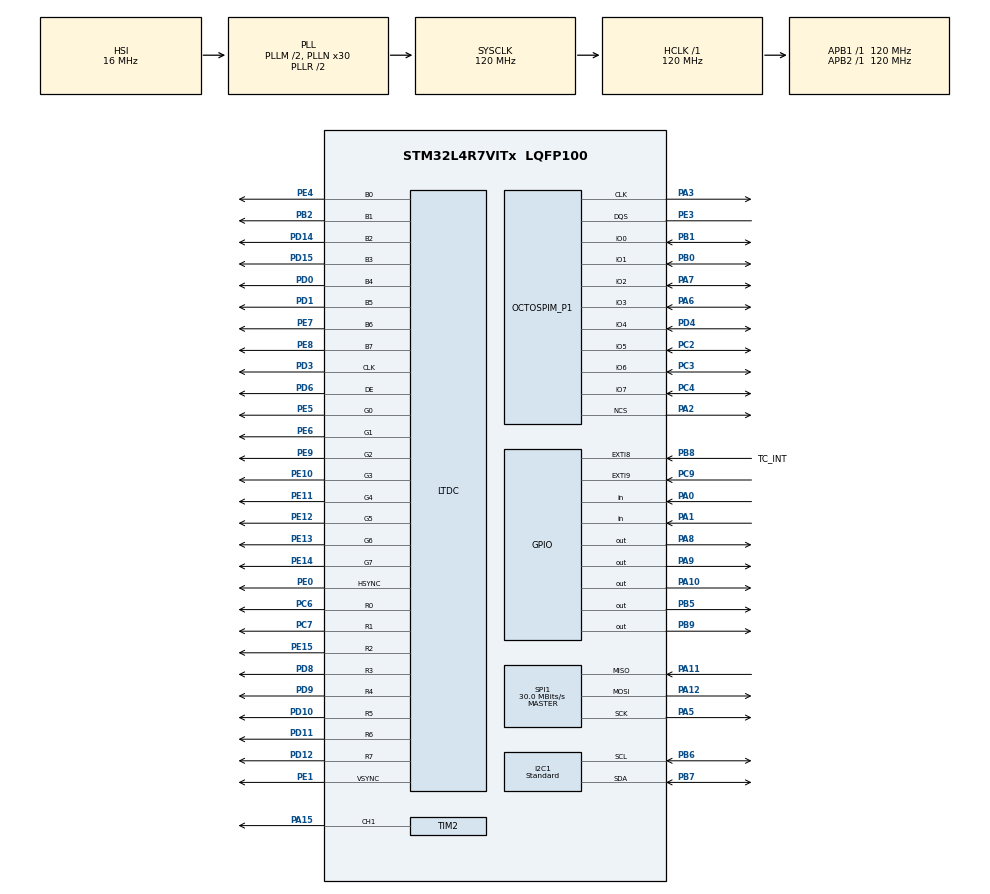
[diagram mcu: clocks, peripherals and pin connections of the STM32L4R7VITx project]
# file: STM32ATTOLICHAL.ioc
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DMA2D.ColorMode=DMA2D_OUTPUT_RGB888
DMA2D.InputColorModeBackground=DMA2D_INPUT_RGB888
DMA2D.InputColorModeForeground=DMA2D_INPUT_RGB888
DMA2D.Mode=DMA2D_M2M_BLEND
Dma.MEMTOMEM.0.Direction=DMA_MEMORY_TO_MEMORY
Dma.MEMTOMEM.0.EventEnable=DISABLE
Dma.MEMTOMEM.0.Instance=DMA1_Channel1
Dma.MEMTOMEM.0.MemDataAlignment=DMA_MDATAALIGN_HALFWORD
Dma.MEMTOMEM.0.MemInc=DMA_MINC_ENABLE
Dma.MEMTOMEM.0.Mode=DMA_NORMAL
Dma.MEMTOMEM.0.PeriphDataAlignment=DMA_PDATAALIGN_HALFWORD
Dma.MEMTOMEM.0.PeriphInc=DMA_PINC_ENABLE
Dma.MEMTOMEM.0.Polarity=HAL_DMAMUX_REQUEST_GEN_RISING
Dma.MEMTOMEM.0.Priority=DMA_PRIORITY_HIGH
Dma.MEMTOMEM.0.RequestNumber=1
Dma.MEMTOMEM.0.SignalID=HAL_DMAMUX1_REQUEST_GEN_EXTI8
Dma.MEMTOMEM.0.SyncEnable=DISABLE
Dma.MEMTOMEM.0.SyncPolarity=HAL_DMAMUX_SYNC_NO_EVENT
Dma.MEMTOMEM.0.SyncRequestNumber=1
Dma.MEMTOMEM.0.SyncSignalID=HAL_DMAMUX1_SYNC_EXTI8
Dma.Request0=MEMTOMEM
I2C1.I2C_Speed_Mode=I2C_Standard
I2C1.Timing=0x00303D5B
LTDC.ActiveW=800
LTDC.FBStartAdress_L0=0x90000000
LTDC.ImageHeight_L0=480
LTDC.ImageWidth_L0=800
LTDC.Layers=0
LTDC.PixelFormat_L0=LTDC_PIXEL_FORMAT_RGB888
LTDC.WindowX1_L0=800
LTDC.WindowY1_L0=480
Mcu.Family=STM32L4
Mcu.Name=STM32L4R7VITx
Mcu.Package=LQFP100
NVIC.DMA2D_IRQn=true\:0\:0\:false\:false\:true\:true
NVIC.I2C1_ER_IRQn=true\:0\:0\:false\:false\:true\:true
NVIC.I2C1_EV_IRQn=true\:0\:0\:false\:false\:true\:true
NVIC.LTDC_IRQn=true\:0\:0\:false\:false\:true\:true
NVIC.OCTOSPI1_IRQn=true\:0\:0\:false\:false\:true\:true
NVIC.PriorityGroup=NVIC_PRIORITYGROUP_4
NVIC.TIM1_UP_TIM16_IRQn=true\:0\:0\:false\:false\:true\:false
NVIC.TimeBase=TIM1_UP_TIM16_IRQn
NVIC.TimeBaseIP=TIM1
OCTOSPI1.AccessTime=10
OCTOSPI1.ChipSelectBoundary=0
OCTOSPI1.ChipSelectHighTime=5
OCTOSPI1.ClockMode=HAL_OSPI_CLOCK_MODE_3
OCTOSPI1.ClockPrescaler=2
OCTOSPI1.DelayHoldQuarterCycle=HAL_OSPI_DHQC_ENABLE
OCTOSPI1.DeviceSize=23
OCTOSPI1.LatencyMode=HAL_OSPI_VARIABLE_LATENCY
OCTOSPI1.MemoryType=HAL_OSPI_MEMTYPE_HYPERBUS
OCTOSPI1.RWRecoveryTime=10
OCTOSPI1.TimeOutActivation=HAL_OSPI_TIMEOUT_COUNTER_DISABLE
OCTOSPI1.WrapSize=HAL_OSPI_WRAP_NOT_SUPPORTED
OCTOSPI1.WriteZeroLatency=HAL_OSPI_SIOO_INST_EVERY_CMD
PA0.Signal=GPIO_Input
PA1.Signal=GPIO_Input
PA10.GPIO_ModeDefaultOutputPP=GPIO_MODE_OUTPUT_PP
PA10.GPIO_PuPd=GPIO_NOPULL
PA10.GPIO_Speed=GPIO_SPEED_FREQ_LOW
PA10.PinState=GPIO_PIN_RESET
PA10.Signal=GPIO_Output
PA11.Mode=Full_Duplex_Master
PA11.Signal=SPI1_MISO
PA12.Mode=Full_Duplex_Master
PA12.Signal=SPI1_MOSI
PA13\ (JTMS/SWDIO).Mode=Trace_Asynchronous_SW
PA13\ (JTMS/SWDIO).Signal=SYS_JTMS-SWDIO
PA14\ (JTCK/SWCLK).Mode=Trace_Asynchronous_SW
PA14\ (JTCK/SWCLK).Signal=SYS_JTCK-SWCLK
PA15\ (JTDI).Signal=S_TIM2_CH1
PA2.GPIO_Mode=GPIO_MODE_AF_PP
PA2.GPIO_PuPd=GPIO_NOPULL
PA2.GPIO_Speed=GPIO_SPEED_FREQ_VERY_HIGH
PA2.Mode=OCTOSPI1_Port1_NCS
PA2.Signal=OCTOSPIM_P1_NCS
PA3.GPIO_Mode=GPIO_MODE_AF_PP
PA3.GPIO_PuPd=GPIO_NOPULL
PA3.GPIO_Speed=GPIO_SPEED_FREQ_VERY_HIGH
PA3.Mode=OCTOSPI1_Port1_CLK
PA3.Signal=OCTOSPIM_P1_CLK
PA5.Mode=Full_Duplex_Master
PA5.Signal=SPI1_SCK
PA6.GPIO_Mode=GPIO_MODE_AF_PP
PA6.GPIO_PuPd=GPIO_NOPULL
PA6.GPIO_Speed=GPIO_SPEED_FREQ_VERY_HIGH
PA6.Mode=OCTOSPI1_IOL_Port1L2
PA6.Signal=OCTOSPIM_P1_IO3
PA7.GPIO_Mode=GPIO_MODE_AF_PP
PA7.GPIO_PuPd=GPIO_NOPULL
PA7.GPIO_Speed=GPIO_SPEED_FREQ_VERY_HIGH
PA7.Mode=OCTOSPI1_IOL_Port1L2
PA7.Signal=OCTOSPIM_P1_IO2
PA8.Signal=GPIO_Output
PA9.GPIO_ModeDefaultOutputPP=GPIO_MODE_OUTPUT_PP
PA9.GPIO_PuPd=GPIO_NOPULL
PA9.GPIO_Speed=GPIO_SPEED_FREQ_LOW
PA9.PinState=GPIO_PIN_RESET
PA9.Signal=GPIO_Output
PB0.GPIO_Mode=GPIO_MODE_AF_PP
PB0.GPIO_PuPd=GPIO_NOPULL
PB0.GPIO_Speed=GPIO_SPEED_FREQ_VERY_HIGH
PB0.Mode=OCTOSPI1_IOL_Port1L2
PB0.Signal=OCTOSPIM_P1_IO1
PB1.GPIO_Mode=GPIO_MODE_AF_PP
PB1.GPIO_PuPd=GPIO_NOPULL
PB1.GPIO_Speed=GPIO_SPEED_FREQ_VERY_HIGH
PB1.Mode=OCTOSPI1_IOL_Port1L2
PB1.Signal=OCTOSPIM_P1_IO0
PB2.GPIO_Mode=GPIO_MODE_AF_PP
PB2.GPIO_PuPd=GPIO_NOPULL
PB2.GPIO_Speed=GPIO_SPEED_FREQ_LOW
PB2.Mode=RGB888
PB2.Signal=LTDC_B1
PB3\ (JTDO/TRACESWO).Mode=Trace_Asynchronous_SW
PB3\ (JTDO/TRACESWO).Signal=SYS_JTDO-SWO
PB5.GPIO_ModeDefaultOutputPP=GPIO_MODE_OUTPUT_PP
PB5.GPIO_PuPd=GPIO_NOPULL
PB5.GPIO_Speed=GPIO_SPEED_FREQ_LOW
PB5.PinState=GPIO_PIN_RESET
PB5.Signal=GPIO_Output
PB6.GPIO_FM6=__NULL
PB6.GPIO_Mode=GPIO_MODE_AF_OD
PB6.GPIO_PuPdOD=GPIO_PULLUP
PB6.GPIO_Speed=GPIO_SPEED_FREQ_VERY_HIGH
PB6.Mode=I2C
PB6.Signal=I2C1_SCL
PB7.GPIO_FM7=__NULL
PB7.GPIO_Mode=GPIO_MODE_AF_OD
PB7.GPIO_PuPdOD=GPIO_PULLUP
PB7.GPIO_Speed=GPIO_SPEED_FREQ_VERY_HIGH
PB7.Mode=I2C
PB7.Signal=I2C1_SDA
PB8.GPIO_Label=TC_INT
PB8.GPIO_ModeDefaultEXTI=GPIO_MODE_IT_RISING
PB8.GPIO_PuPd=GPIO_NOPULL
PB8.Signal=GPXTI8
PB9.GPIO_FM9=__NULL
PB9.GPIO_ModeDefaultOutputPP=GPIO_MODE_OUTPUT_PP
PB9.GPIO_PuPd=GPIO_NOPULL
PB9.GPIO_Speed=GPIO_SPEED_FREQ_LOW
PB9.PinState=GPIO_PIN_RESET
PB9.Signal=GPIO_Output
PC2.GPIO_Mode=GPIO_MODE_AF_PP
PC2.GPIO_PuPd=GPIO_NOPULL
PC2.GPIO_Speed=GPIO_SPEED_FREQ_VERY_HIGH
PC2.Mode=OCTOSPI1_IOH1_Port1H
PC2.Signal=OCTOSPIM_P1_IO5
PC3.GPIO_Mode=GPIO_MODE_AF_PP
PC3.GPIO_PuPd=GPIO_NOPULL
PC3.GPIO_Speed=GPIO_SPEED_FREQ_VERY_HIGH
PC3.Mode=OCTOSPI1_IOH1_Port1H
PC3.Signal=OCTOSPIM_P1_IO6
PC4.GPIO_Mode=GPIO_MODE_AF_PP
PC4.GPIO_PuPd=GPIO_NOPULL
PC4.GPIO_Speed=GPIO_SPEED_FREQ_VERY_HIGH
PC4.Mode=OCTOSPI1_IOH1_Port1H
PC4.Signal=OCTOSPIM_P1_IO7
PC6.GPIO_Mode=GPIO_MODE_AF_PP
PC6.GPIO_PuPd=GPIO_NOPULL
PC6.GPIO_Speed=GPIO_SPEED_FREQ_LOW
PC6.Mode=RGB888
PC6.Signal=LTDC_R0
PC7.GPIO_Mode=GPIO_MODE_AF_PP
PC7.GPIO_PuPd=GPIO_NOPULL
PC7.GPIO_Speed=GPIO_SPEED_FREQ_LOW
PC7.Mode=RGB888
PC7.Signal=LTDC_R1
PC9.GPIO_ModeDefaultEXTI=GPIO_MODE_IT_RISING
PC9.GPIO_PuPd=GPIO_NOPULL
PC9.Signal=GPXTI9
PD0.GPIO_Mode=GPIO_MODE_AF_PP
PD0.GPIO_PuPd=GPIO_NOPULL
PD0.GPIO_Speed=GPIO_SPEED_FREQ_LOW
PD0.Mode=RGB888
PD0.Signal=LTDC_B4
PD1.GPIO_Mode=GPIO_MODE_AF_PP
PD1.GPIO_PuPd=GPIO_NOPULL
PD1.GPIO_Speed=GPIO_SPEED_FREQ_LOW
PD1.Mode=RGB888
PD1.Signal=LTDC_B5
PD10.GPIO_Mode=GPIO_MODE_AF_PP
PD10.GPIO_PuPd=GPIO_NOPULL
PD10.GPIO_Speed=GPIO_SPEED_FREQ_LOW
PD10.Mode=RGB888
PD10.Signal=LTDC_R5
PD11.GPIO_Mode=GPIO_MODE_AF_PP
PD11.GPIO_PuPd=GPIO_NOPULL
PD11.GPIO_Speed=GPIO_SPEED_FREQ_LOW
PD11.Mode=RGB888
PD11.Signal=LTDC_R6
PD12.GPIO_Mode=GPIO_MODE_AF_PP
PD12.GPIO_PuPd=GPIO_NOPULL
PD12.GPIO_Speed=GPIO_SPEED_FREQ_LOW
PD12.Mode=RGB888
PD12.Signal=LTDC_R7
PD14.GPIO_Mode=GPIO_MODE_AF_PP
PD14.GPIO_PuPd=GPIO_NOPULL
PD14.GPIO_Speed=GPIO_SPEED_FREQ_LOW
PD14.Mode=RGB888
PD14.Signal=LTDC_B2
PD15.GPIO_Mode=GPIO_MODE_AF_PP
PD15.GPIO_PuPd=GPIO_NOPULL
PD15.GPIO_Speed=GPIO_SPEED_FREQ_LOW
PD15.Mode=RGB888
PD15.Signal=LTDC_B3
PD3.GPIO_Mode=GPIO_MODE_AF_PP
PD3.GPIO_PuPd=GPIO_NOPULL
PD3.GPIO_Speed=GPIO_SPEED_FREQ_LOW
PD3.Mode=RGB888
PD3.Signal=LTDC_CLK
PD4.GPIO_Mode=GPIO_MODE_AF_PP
PD4.GPIO_PuPd=GPIO_NOPULL
PD4.GPIO_Speed=GPIO_SPEED_FREQ_VERY_HIGH
PD4.Mode=OCTOSPI1_IOH1_Port1H
PD4.Signal=OCTOSPIM_P1_IO4
PD6.GPIO_Mode=GPIO_MODE_AF_PP
PD6.GPIO_PuPd=GPIO_NOPULL
PD6.GPIO_Speed=GPIO_SPEED_FREQ_LOW
PD6.Mode=RGB888
PD6.Signal=LTDC_DE
PD8.GPIO_Mode=GPIO_MODE_AF_PP
PD8.GPIO_PuPd=GPIO_NOPULL
PD8.GPIO_Speed=GPIO_SPEED_FREQ_LOW
PD8.Mode=RGB888
PD8.Signal=LTDC_R3
PD9.GPIO_Mode=GPIO_MODE_AF_PP
PD9.GPIO_PuPd=GPIO_NOPULL
PD9.GPIO_Speed=GPIO_SPEED_FREQ_LOW
PD9.Mode=RGB888
PD9.Signal=LTDC_R4
PE0.GPIO_Mode=GPIO_MODE_AF_PP
PE0.GPIO_PuPd=GPIO_NOPULL
PE0.GPIO_Speed=GPIO_SPEED_FREQ_LOW
PE0.Mode=RGB888
PE0.Signal=LTDC_HSYNC
PE1.GPIO_Mode=GPIO_MODE_AF_PP
PE1.GPIO_PuPd=GPIO_NOPULL
PE1.GPIO_Speed=GPIO_SPEED_FREQ_LOW
PE1.Mode=RGB888
PE1.Signal=LTDC_VSYNC
PE10.GPIO_Mode=GPIO_MODE_AF_PP
PE10.GPIO_PuPd=GPIO_NOPULL
PE10.GPIO_Speed=GPIO_SPEED_FREQ_LOW
PE10.Mode=RGB888
PE10.Signal=LTDC_G3
PE11.GPIO_Mode=GPIO_MODE_AF_PP
PE11.GPIO_PuPd=GPIO_NOPULL
PE11.GPIO_Speed=GPIO_SPEED_FREQ_LOW
PE11.Mode=RGB888
PE11.Signal=LTDC_G4
PE12.GPIO_Mode=GPIO_MODE_AF_PP
PE12.GPIO_PuPd=GPIO_NOPULL
PE12.GPIO_Speed=GPIO_SPEED_FREQ_LOW
PE12.Mode=RGB888
PE12.Signal=LTDC_G5
PE13.GPIO_Mode=GPIO_MODE_AF_PP
PE13.GPIO_PuPd=GPIO_NOPULL
PE13.GPIO_Speed=GPIO_SPEED_FREQ_LOW
PE13.Mode=RGB888
PE13.Signal=LTDC_G6
PE14.GPIO_Mode=GPIO_MODE_AF_PP
PE14.GPIO_PuPd=GPIO_NOPULL
PE14.GPIO_Speed=GPIO_SPEED_FREQ_LOW
PE14.Mode=RGB888
PE14.Signal=LTDC_G7
PE15.GPIO_Mode=GPIO_MODE_AF_PP
PE15.GPIO_PuPd=GPIO_NOPULL
PE15.GPIO_Speed=GPIO_SPEED_FREQ_LOW
PE15.Mode=RGB888
PE15.Signal=LTDC_R2
PE3.GPIO_Mode=GPIO_MODE_AF_PP
PE3.GPIO_PuPd=GPIO_NOPULL
PE3.GPIO_Speed=GPIO_SPEED_FREQ_VERY_HIGH
PE3.Mode=OCTOSPI1_Port1_DQS
PE3.Signal=OCTOSPIM_P1_DQS
PE4.GPIO_Mode=GPIO_MODE_AF_PP
PE4.GPIO_PuPd=GPIO_NOPULL
PE4.GPIO_Speed=GPIO_SPEED_FREQ_LOW
PE4.Mode=RGB888
PE4.Signal=LTDC_B0
PE5.GPIO_Mode=GPIO_MODE_AF_PP
PE5.GPIO_PuPd=GPIO_NOPULL
PE5.GPIO_Speed=GPIO_SPEED_FREQ_LOW
PE5.Mode=RGB888
PE5.Signal=LTDC_G0
PE6.GPIO_Mode=GPIO_MODE_AF_PP
PE6.GPIO_PuPd=GPIO_NOPULL
PE6.GPIO_Speed=GPIO_SPEED_FREQ_LOW
PE6.Mode=RGB888
PE6.Signal=LTDC_G1
PE7.GPIO_Mode=GPIO_MODE_AF_PP
PE7.GPIO_PuPd=GPIO_NOPULL
PE7.GPIO_Speed=GPIO_SPEED_FREQ_LOW
PE7.Mode=RGB888
PE7.Signal=LTDC_B6
PE8.GPIO_Mode=GPIO_MODE_AF_PP
PE8.GPIO_PuPd=GPIO_NOPULL
PE8.GPIO_Speed=GPIO_SPEED_FREQ_LOW
PE8.Mode=RGB888
PE8.Signal=LTDC_B7
PE9.GPIO_Mode=GPIO_MODE_AF_PP
PE9.GPIO_PuPd=GPIO_NOPULL
PE9.GPIO_Speed=GPIO_SPEED_FREQ_LOW
PE9.Mode=RGB888
PE9.Signal=LTDC_G2
ProjectManager.HeapSize=0x200
ProjectManager.StackSize=0x400
ProjectManager.TargetToolchain=TrueSTUDIO
RCC.ADCFreq_Value=64000000
RCC.AHBFreq_Value=120000000
RCC.APB1Freq_Value=120000000
RCC.APB1TimFreq_Value=120000000
RCC.APB2Freq_Value=120000000
RCC.APB2TimFreq_Value=120000000
RCC.CortexFreq_Value=120000000
RCC.HCLKFreq_Value=120000000
RCC.HSE_VALUE=48000000
RCC.HSI48_VALUE=48000000
RCC.HSI_VALUE=16000000
RCC.I2C1CLockSelection=RCC_I2C1CLKSOURCE_HSI
RCC.LSE_VALUE=32768
RCC.MSI_VALUE=4000000
RCC.PLLM1=2
RCC.PLLM3=2
RCC.PLLN=30
RCC.PLLSAI2N=16
RCC.PLLSourceVirtual=RCC_PLLSOURCE_HSI
RCC.SYSCLKFreq_VALUE=120000000
RCC.SYSCLKSource=RCC_SYSCLKSOURCE_PLLCLK
RCC.USBFreq_Value=64000000
RCC.VCOOutputFreq_Value=240000000
SH.S_TIM2_CH1.0=TIM2_CH1,PWM Generation1 CH1
SPI1.BaudRatePrescaler=SPI_BAUDRATEPRESCALER_4
SPI1.CalculateBaudRate=30.0 MBits/s
SPI1.Direction=SPI_DIRECTION_2LINES
SPI1.Mode=SPI_MODE_MASTER
SPI1.VirtualType=VM_MASTER
TIM2.Channel-PWM\ Generation1\ CH1=TIM_CHANNEL_1
TIM2.ClockDivision=TIM_CLOCKDIVISION_DIV1
TIM2.CounterMode=TIM_COUNTERMODE_UP
TIM2.OCPolarity_1=TIM_OCPOLARITY_HIGH
TIM2.Period=10000
TIM2.Prescaler=1200-1
VP_DMA2D_VS_DMA2D.Mode=DMA2D_Activate
VP_OCTOSPI1_VS_octo.Mode=octo_mode
VP_SYS_VS_tim1.Mode=TIM1
VP_TIM2_VS_ClockSourceINT.Mode=Internal
board=custom

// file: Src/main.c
/**
  ******************************************************************************
  * @file           : main.c
  * @brief          : Main program body
  ******************************************************************************
  ** This notice applies to any and all portions of this file
  * that are not between comment pairs USER CODE BEGIN and
  * USER CODE END. Other portions of this file, whether
  * inserted by the user or by software development tools
  * are owned by their respective copyright owners.
  *
  * COPYRIGHT(c) 2018 STMicroelectronics
  *
  * Redistribution and use in source and binary forms, with or without modification,
  * are permitted provided that the following conditions are met:
  *   1. Redistributions of source code must retain the above copyright notice,
  *      this list of conditions and the following disclaimer.
  *   2. Redistributions in binary form must reproduce the above copyright notice,
  *      this list of conditions and the following disclaimer in the documentation
  *      and/or other materials provided with the distribution.
  *   3. Neither the name of STMicroelectronics nor the names of its contributors
  *      may be used to endorse or promote products derived from this software
  *      without specific prior written permission.
  *
  * THIS SOFTWARE IS PROVIDED BY THE COPYRIGHT HOLDERS AND CONTRIBUTORS "AS IS"
  * AND ANY EXPRESS OR IMPLIED WARRANTIES, INCLUDING, BUT NOT LIMITED TO, THE
  * IMPLIED WARRANTIES OF MERCHANTABILITY AND FITNESS FOR A PARTICULAR PURPOSE ARE
  * DISCLAIMED. IN NO EVENT SHALL THE COPYRIGHT HOLDER OR CONTRIBUTORS BE LIABLE
  * FOR ANY DIRECT, INDIRECT, INCIDENTAL, SPECIAL, EXEMPLARY, OR CONSEQUENTIAL
  * DAMAGES (INCLUDING, BUT NOT LIMITED TO, PROCUREMENT OF SUBSTITUTE GOODS OR
  * SERVICES; LOSS OF USE, DATA, OR PROFITS; OR BUSINESS INTERRUPTION) HOWEVER
  * CAUSED AND ON ANY THEORY OF LIABILITY, WHETHER IN CONTRACT, STRICT LIABILITY,
  * OR TORT (INCLUDING NEGLIGENCE OR OTHERWISE) ARISING IN ANY WAY OUT OF THE USE
  * OF THIS SOFTWARE, EVEN IF ADVISED OF THE POSSIBILITY OF SUCH DAMAGE.
  *
  ******************************************************************************
  */
#include "main.h"
#include "stm32l4xx_hal.h"

/* USER CODE BEGIN Includes */
#include <stdio.h>
#include <string.h>
#include "stm32l4xx.h"

 // LVGL
#include "lvgl/lvgl.h"
#include "vgl_stm32/touch/vgl_touch.h"
#include "vgl_stm32/lcd/lcd.h"

#include "BAT_gauge.h"

/* USER CODE END Includes */

DMA2D_HandleTypeDef hdma2d;

I2C_HandleTypeDef hi2c1;

LTDC_HandleTypeDef hltdc;

OSPI_HandleTypeDef hospi1;

SPI_HandleTypeDef hspi1;

TIM_HandleTypeDef htim2;

DMA_HandleTypeDef hdma_memtomem_dma1_channel1;

/* USER CODE BEGIN PV */
/* Private variables ---------------------------------------------------------*/

/* HyperBUS RAM buffer variables ---- */
	uint8_t aTxBuffer[] = {"For writing then reading HyperBus Ram"};
	__IO uint8_t *ram_address;
	__IO uint8_t aRxBuffer[BUFFERSIZE];

	static __IO uint8_t * VRAM_Buffer = (__IO  uint8_t *) (OCTOSPI1_BASE);

/* USER CODE END PV */

void SystemClock_Config(void);
static void MX_GPIO_Init(void);
static void MX_DMA_Init(void);
static void MX_I2C1_Init(void);
static void MX_OCTOSPI1_Init(void);
static void MX_SPI1_Init(void);
static void MX_TIM2_Init(void);
static void MX_DMA2D_Init(void);
static void MX_LTDC_Init(void);

void HAL_TIM_MspPostInit(TIM_HandleTypeDef *htim);

/* USER CODE BEGIN PFP */
/* Private function prototypes -----------------------------------------------*/

void user_pwm_setvalue(uint16_t value);

/* USER CODE END PFP */

int main(void)
{
  /* USER CODE BEGIN 1 */
	OSPI_HyperbusCfgTypeDef sHyperbusCfg;
	OSPI_HyperbusCmdTypeDef sCommand;
	OSPI_MemoryMappedTypeDef sMemMappedCfg;
	uint16_t index;
  /* USER CODE END 1 */

  /* MCU Configuration----------------------------------------------------------*/

  /* Reset of all peripherals, Initializes the Flash interface and the Systick. */
  HAL_Init();

  /* Configure the system clock */
  SystemClock_Config();

  /* Initialize all configured peripherals */
  MX_GPIO_Init();
  MX_DMA_Init();
  MX_I2C1_Init();
  MX_OCTOSPI1_Init();
  MX_SPI1_Init();
  MX_TIM2_Init();
  MX_DMA2D_Init();
  MX_LTDC_Init();
  /* USER CODE BEGIN 2 */
  /*--- Setting the OCTOSPI1 peripheral timings and latency mode ----*/
  /* TRWR Latency=3 (TRWR=50ns);TACC Latency=6;Latency on write
  accesses=0(Enabled);Latency mode=1(Fixed 2 times initial Latency)*/
   sHyperbusCfg.RWRecoveryTime = 6;
   sHyperbusCfg.AccessTime = 10;
   sHyperbusCfg.WriteZeroLatency =  HAL_OSPI_LATENCY_ON_WRITE;
   sHyperbusCfg.LatencyMode =  HAL_OSPI_FIXED_LATENCY;
   if (HAL_OSPI_HyperbusCfg(&hospi1, &sHyperbusCfg,
  HAL_OSPI_TIMEOUT_DEFAULT_VALUE) != HAL_OK)
   {
   Error_Handler();
   }
   /*--------- Setting OCTOSPI1 to memory-mapped mode ----------*/
   /* Setting OCTOSPI1 to HyperBus memory space mode: MTYP=0b100 */
   sCommand.AddressSpace = HAL_OSPI_MEMORY_ADDRESS_SPACE;
   sCommand.AddressSize = HAL_OSPI_ADDRESS_32_BITS;
   sCommand.DQSMode = HAL_OSPI_DQS_ENABLE;
   sCommand.NbData = 1;
   if (HAL_OSPI_HyperbusCmd(&hospi1, &sCommand,
  HAL_OSPI_TIMEOUT_DEFAULT_VALUE) != HAL_OK)
   {
   Error_Handler();
   }
   /* Disabling the Timeout Counter */
   sMemMappedCfg.TimeOutActivation = HAL_OSPI_TIMEOUT_COUNTER_DISABLE;
   if (HAL_OSPI_MemoryMapped(&hospi1, &sMemMappedCfg) != HAL_OK)
   {Error_Handler();
   }
  /*------------------------------------------------------------*/
  /*-------------- Writing to the HyperRAM memory --------------*/

#ifdef RAM
  ram_address = (__IO  uint8_t *)(OCTOSPI1_BASE);
  for (index = 0; index < BUFFERSIZE; index++)
  {
  *ram_address = aTxBuffer[index];
   ram_address++;
  }
  // Insert a delay between writing and reading
  HAL_Delay(1);

  /*-----------------------------------------------------------*/
  /*------------------ Reading from the HyperRAM memory -------------*/

  ram_address = (__IO uint8_t *)(OCTOSPI1_BASE);
  for(index = 0; index < BUFFERSIZE; index++)
  {
   //Reading back the written RAMTxBuffer in memory-mapped mode
  aRxBuffer[index] = *ram_address;
  if(aRxBuffer[index] != aTxBuffer[index])
  {

  }
  *ram_address++;
  }

  */
  /*-----------------------------------------------------------*/
#endif

// Set capacity of the battery counter (mAh)

  GAUGE_CapacitySetup(4800);

  user_pwm_setvalue(5000);

  uint8_t k = Charge();

  printf("The Battery is at %d percent", k);

// LVGL Initialization
  lv_init();
  lv_lcd_init();
  lv_touch_init();

/* Test if touchpad works
  int f;

  f = CTS_read_X();

  printf("%d", f);
*/

  /* USER CODE END 2 */

  /* Infinite loop */
  /* USER CODE BEGIN WHILE */
  while (1)
  {
	  lv_task_handler();

  }
  /* USER CODE END WHILE */

}

void SystemClock_Config(void)
{

  RCC_OscInitTypeDef RCC_OscInitStruct;
  RCC_ClkInitTypeDef RCC_ClkInitStruct;
  RCC_PeriphCLKInitTypeDef PeriphClkInit;

    /**Configure the main internal regulator output voltage
    */
  if (HAL_PWREx_ControlVoltageScaling(PWR_REGULATOR_VOLTAGE_SCALE1_BOOST) != HAL_OK)
  {
    _Error_Handler(__FILE__, __LINE__);
  }

    /**Initializes the CPU, AHB and APB busses clocks
    */
  RCC_OscInitStruct.OscillatorType = RCC_OSCILLATORTYPE_HSI;
  RCC_OscInitStruct.HSIState = RCC_HSI_ON;
  RCC_OscInitStruct.HSICalibrationValue = 64;
  RCC_OscInitStruct.PLL.PLLState = RCC_PLL_ON;
  RCC_OscInitStruct.PLL.PLLSource = RCC_PLLSOURCE_HSI;
  RCC_OscInitStruct.PLL.PLLM = 2;
  RCC_OscInitStruct.PLL.PLLN = 30;
  RCC_OscInitStruct.PLL.PLLP = RCC_PLLP_DIV2;
  RCC_OscInitStruct.PLL.PLLQ = RCC_PLLQ_DIV2;
  RCC_OscInitStruct.PLL.PLLR = RCC_PLLR_DIV2;
  if (HAL_RCC_OscConfig(&RCC_OscInitStruct) != HAL_OK)
  {
    _Error_Handler(__FILE__, __LINE__);
  }

    /**Initializes the CPU, AHB and APB busses clocks
    */
  RCC_ClkInitStruct.ClockType = RCC_CLOCKTYPE_HCLK|RCC_CLOCKTYPE_SYSCLK
                              |RCC_CLOCKTYPE_PCLK1|RCC_CLOCKTYPE_PCLK2;
  RCC_ClkInitStruct.SYSCLKSource = RCC_SYSCLKSOURCE_PLLCLK;
  RCC_ClkInitStruct.AHBCLKDivider = RCC_SYSCLK_DIV1;
  RCC_ClkInitStruct.APB1CLKDivider = RCC_HCLK_DIV1;
  RCC_ClkInitStruct.APB2CLKDivider = RCC_HCLK_DIV1;

  if (HAL_RCC_ClockConfig(&RCC_ClkInitStruct, FLASH_LATENCY_5) != HAL_OK)
  {
    _Error_Handler(__FILE__, __LINE__);
  }

  PeriphClkInit.PeriphClockSelection = RCC_PERIPHCLK_I2C1|RCC_PERIPHCLK_OSPI
                              |RCC_PERIPHCLK_LTDC;
  PeriphClkInit.I2c1ClockSelection = RCC_I2C1CLKSOURCE_HSI;
  PeriphClkInit.OspiClockSelection = RCC_OSPICLKSOURCE_SYSCLK;
  PeriphClkInit.LtdcClockSelection = RCC_LTDCCLKSOURCE_PLLSAI2_DIV2;
  PeriphClkInit.PLLSAI2.PLLSAI2Source = RCC_PLLSOURCE_HSI;
  PeriphClkInit.PLLSAI2.PLLSAI2M = 2;
  PeriphClkInit.PLLSAI2.PLLSAI2N = 16;
  PeriphClkInit.PLLSAI2.PLLSAI2P = RCC_PLLP_DIV2;
  PeriphClkInit.PLLSAI2.PLLSAI2R = RCC_PLLR_DIV2;
  PeriphClkInit.PLLSAI2.PLLSAI2Q = RCC_PLLQ_DIV2;
  PeriphClkInit.PLLSAI2.PLLSAI2ClockOut = RCC_PLLSAI2_LTDCCLK;
  if (HAL_RCCEx_PeriphCLKConfig(&PeriphClkInit) != HAL_OK)
  {
    _Error_Handler(__FILE__, __LINE__);
  }

    /**Configure the Systick interrupt time
    */
  HAL_SYSTICK_Config(HAL_RCC_GetHCLKFreq()/1000);

    /**Configure the Systick
    */
  HAL_SYSTICK_CLKSourceConfig(SYSTICK_CLKSOURCE_HCLK);

  /* SysTick_IRQn interrupt configuration */
  HAL_NVIC_SetPriority(SysTick_IRQn, 0, 0);
}

/* DMA2D init function */
static void MX_DMA2D_Init(void)
{

  hdma2d.Instance = DMA2D;
  hdma2d.Init.Mode = DMA2D_M2M_BLEND;
  hdma2d.Init.ColorMode = DMA2D_OUTPUT_RGB888;
  hdma2d.Init.OutputOffset = 0;
  hdma2d.Init.BytesSwap = DMA2D_BYTES_REGULAR;
  hdma2d.Init.LineOffsetMode = DMA2D_LOM_PIXELS;
  hdma2d.LayerCfg[1].InputOffset = 0;
  hdma2d.LayerCfg[1].InputColorMode = DMA2D_INPUT_RGB888;
  hdma2d.LayerCfg[1].AlphaMode = DMA2D_NO_MODIF_ALPHA;
  hdma2d.LayerCfg[1].InputAlpha = 0;
  hdma2d.LayerCfg[1].AlphaInverted = DMA2D_REGULAR_ALPHA;
  hdma2d.LayerCfg[1].RedBlueSwap = DMA2D_RB_REGULAR;
  hdma2d.LayerCfg[0].InputOffset = 0;
  hdma2d.LayerCfg[0].InputColorMode = DMA2D_INPUT_RGB888;
  hdma2d.LayerCfg[0].AlphaMode = DMA2D_NO_MODIF_ALPHA;
  hdma2d.LayerCfg[0].InputAlpha = 0;
  hdma2d.LayerCfg[0].AlphaInverted = DMA2D_REGULAR_ALPHA;
  hdma2d.LayerCfg[0].RedBlueSwap = DMA2D_RB_REGULAR;
  if (HAL_DMA2D_Init(&hdma2d) != HAL_OK)
  {
    _Error_Handler(__FILE__, __LINE__);
  }

  if (HAL_DMA2D_ConfigLayer(&hdma2d, 0) != HAL_OK)
  {
    _Error_Handler(__FILE__, __LINE__);
  }

  if (HAL_DMA2D_ConfigLayer(&hdma2d, 1) != HAL_OK)
  {
    _Error_Handler(__FILE__, __LINE__);
  }

}

/* I2C1 init function */
static void MX_I2C1_Init(void)
{

  hi2c1.Instance = I2C1;
  hi2c1.Init.Timing = 0x00303D5B;
  hi2c1.Init.OwnAddress1 = 0;
  hi2c1.Init.AddressingMode = I2C_ADDRESSINGMODE_7BIT;
  hi2c1.Init.DualAddressMode = I2C_DUALADDRESS_DISABLE;
  hi2c1.Init.OwnAddress2 = 0;
  hi2c1.Init.OwnAddress2Masks = I2C_OA2_NOMASK;
  hi2c1.Init.GeneralCallMode = I2C_GENERALCALL_DISABLE;
  hi2c1.Init.NoStretchMode = I2C_NOSTRETCH_DISABLE;
  if (HAL_I2C_Init(&hi2c1) != HAL_OK)
  {
    _Error_Handler(__FILE__, __LINE__);
  }

    /**Configure Analogue filter
    */
  if (HAL_I2CEx_ConfigAnalogFilter(&hi2c1, I2C_ANALOGFILTER_ENABLE) != HAL_OK)
  {
    _Error_Handler(__FILE__, __LINE__);
  }

    /**Configure Digital filter
    */
  if (HAL_I2CEx_ConfigDigitalFilter(&hi2c1, 0) != HAL_OK)
  {
    _Error_Handler(__FILE__, __LINE__);
  }

}

/* LTDC init function */
static void MX_LTDC_Init(void)
{

  LTDC_LayerCfgTypeDef pLayerCfg;

  hltdc.Instance = LTDC;
  hltdc.Init.HSPolarity = LTDC_HSPOLARITY_AL;
  hltdc.Init.VSPolarity = LTDC_VSPOLARITY_AL;
  hltdc.Init.DEPolarity = LTDC_DEPOLARITY_AL;
  hltdc.Init.PCPolarity = LTDC_PCPOLARITY_IPC;
  hltdc.Init.HorizontalSync = 7;
  hltdc.Init.VerticalSync = 3;
  hltdc.Init.AccumulatedHBP = 14;
  hltdc.Init.AccumulatedVBP = 5;
  hltdc.Init.AccumulatedActiveW = 814;
  hltdc.Init.AccumulatedActiveH = 485;
  hltdc.Init.TotalWidth = 820;
  hltdc.Init.TotalHeigh = 487;
  hltdc.Init.Backcolor.Blue = 0;
  hltdc.Init.Backcolor.Green = 0;
  hltdc.Init.Backcolor.Red = 0;
  if (HAL_LTDC_Init(&hltdc) != HAL_OK)
  {
    _Error_Handler(__FILE__, __LINE__);
  }

  pLayerCfg.WindowX0 = 0;
  pLayerCfg.WindowX1 = 800;
  pLayerCfg.WindowY0 = 0;
  pLayerCfg.WindowY1 = 480;
  pLayerCfg.PixelFormat = LTDC_PIXEL_FORMAT_RGB888;
  pLayerCfg.Alpha = 0;
  pLayerCfg.Alpha0 = 0;
  pLayerCfg.BlendingFactor1 = LTDC_BLENDING_FACTOR1_CA;
  pLayerCfg.BlendingFactor2 = LTDC_BLENDING_FACTOR2_CA;
  pLayerCfg.FBStartAdress = 0x90000000;
  pLayerCfg.ImageWidth = 800;
  pLayerCfg.ImageHeight = 480;
  pLayerCfg.Backcolor.Blue = 0;
  pLayerCfg.Backcolor.Green = 0;
  pLayerCfg.Backcolor.Red = 0;
  if (HAL_LTDC_ConfigLayer(&hltdc, &pLayerCfg, 0) != HAL_OK)
  {
    _Error_Handler(__FILE__, __LINE__);
  }

}

/* OCTOSPI1 init function */
static void MX_OCTOSPI1_Init(void)
{

  OSPIM_CfgTypeDef OSPIM_Cfg_Struct;
  OSPI_MemoryMappedTypeDef sMemMappedCfg;

  /* OCTOSPI1 parameter configuration*/
  hospi1.Instance = OCTOSPI1;
  hospi1.Init.FifoThreshold = 1;
  hospi1.Init.DualQuad = HAL_OSPI_DUALQUAD_DISABLE;
  hospi1.Init.MemoryType = HAL_OSPI_MEMTYPE_HYPERBUS;
  hospi1.Init.DeviceSize = 23;
  hospi1.Init.ChipSelectHighTime = 5;
  hospi1.Init.FreeRunningClock = HAL_OSPI_FREERUNCLK_DISABLE;
  hospi1.Init.ClockMode = HAL_OSPI_CLOCK_MODE_3;
  hospi1.Init.WrapSize = HAL_OSPI_WRAP_NOT_SUPPORTED;
  hospi1.Init.ClockPrescaler = 2;
  hospi1.Init.SampleShifting = HAL_OSPI_SAMPLE_SHIFTING_NONE;
  hospi1.Init.DelayHoldQuarterCycle = HAL_OSPI_DHQC_ENABLE;
  hospi1.Init.ChipSelectBoundary = 0;
  if (HAL_OSPI_Init(&hospi1) != HAL_OK)
  {
    _Error_Handler(__FILE__, __LINE__);
  }

  OSPIM_Cfg_Struct.ClkPort = 1;
  OSPIM_Cfg_Struct.DQSPort = 1;
  OSPIM_Cfg_Struct.NCSPort = 1;
  OSPIM_Cfg_Struct.IOLowPort = HAL_OSPIM_IOPORT_1_LOW;
  OSPIM_Cfg_Struct.IOHighPort = HAL_OSPIM_IOPORT_1_HIGH;

  if (HAL_OSPIM_Config(&hospi1, &OSPIM_Cfg_Struct, HAL_OSPI_TIMEOUT_DEFAULT_VALUE) != HAL_OK)
  {
    _Error_Handler(__FILE__, __LINE__);
  }

  sMemMappedCfg.TimeOutActivation = HAL_OSPI_TIMEOUT_COUNTER_DISABLE;
  sMemMappedCfg.TimeOutPeriod = 1;
  if (HAL_OSPI_MemoryMapped(&hospi1, &sMemMappedCfg) != HAL_OK)
  {
    _Error_Handler(__FILE__, __LINE__);
  }

}

/* SPI1 init function */
static void MX_SPI1_Init(void)
{

  /* SPI1 parameter configuration*/
  hspi1.Instance = SPI1;
  hspi1.Init.Mode = SPI_MODE_MASTER;
  hspi1.Init.Direction = SPI_DIRECTION_2LINES;
  hspi1.Init.DataSize = SPI_DATASIZE_4BIT;
  hspi1.Init.CLKPolarity = SPI_POLARITY_LOW;
  hspi1.Init.CLKPhase = SPI_PHASE_1EDGE;
  hspi1.Init.NSS = SPI_NSS_SOFT;
  hspi1.Init.BaudRatePrescaler = SPI_BAUDRATEPRESCALER_4;
  hspi1.Init.FirstBit = SPI_FIRSTBIT_MSB;
  hspi1.Init.TIMode = SPI_TIMODE_DISABLE;
  hspi1.Init.CRCCalculation = SPI_CRCCALCULATION_DISABLE;
  hspi1.Init.CRCPolynomial = 7;
  hspi1.Init.CRCLength = SPI_CRC_LENGTH_DATASIZE;
  hspi1.Init.NSSPMode = SPI_NSS_PULSE_ENABLE;
  if (HAL_SPI_Init(&hspi1) != HAL_OK)
  {
    _Error_Handler(__FILE__, __LINE__);
  }

}

/* TIM2 init function */
static void MX_TIM2_Init(void)
{

  TIM_ClockConfigTypeDef sClockSourceConfig;
  TIM_MasterConfigTypeDef sMasterConfig;
  TIM_OC_InitTypeDef sConfigOC;

  htim2.Instance = TIM2;
  htim2.Init.Prescaler = 1200-1;
  htim2.Init.CounterMode = TIM_COUNTERMODE_UP;
  htim2.Init.Period = 10000;
  htim2.Init.ClockDivision = TIM_CLOCKDIVISION_DIV1;
  htim2.Init.AutoReloadPreload = TIM_AUTORELOAD_PRELOAD_DISABLE;
  if (HAL_TIM_Base_Init(&htim2) != HAL_OK)
  {
    _Error_Handler(__FILE__, __LINE__);
  }

  sClockSourceConfig.ClockSource = TIM_CLOCKSOURCE_INTERNAL;
  if (HAL_TIM_ConfigClockSource(&htim2, &sClockSourceConfig) != HAL_OK)
  {
    _Error_Handler(__FILE__, __LINE__);
  }

  if (HAL_TIM_PWM_Init(&htim2) != HAL_OK)
  {
    _Error_Handler(__FILE__, __LINE__);
  }

  sMasterConfig.MasterOutputTrigger = TIM_TRGO_RESET;
  sMasterConfig.MasterSlaveMode = TIM_MASTERSLAVEMODE_DISABLE;
  if (HAL_TIMEx_MasterConfigSynchronization(&htim2, &sMasterConfig) != HAL_OK)
  {
    _Error_Handler(__FILE__, __LINE__);
  }

  sConfigOC.OCMode = TIM_OCMODE_PWM1;
  sConfigOC.Pulse = 0;
  sConfigOC.OCPolarity = TIM_OCPOLARITY_HIGH;
  sConfigOC.OCFastMode = TIM_OCFAST_DISABLE;
  if (HAL_TIM_PWM_ConfigChannel(&htim2, &sConfigOC, TIM_CHANNEL_1) != HAL_OK)
  {
    _Error_Handler(__FILE__, __LINE__);
  }

  HAL_TIM_MspPostInit(&htim2);

}

static void MX_DMA_Init(void)
{
  /* DMA controller clock enable */
  __HAL_RCC_DMAMUX1_CLK_ENABLE();
  __HAL_RCC_DMA1_CLK_ENABLE();

  /* Configure DMA request hdma_memtomem_dma1_channel1 on DMA1_Channel1 */
  hdma_memtomem_dma1_channel1.Instance = DMA1_Channel1;
  hdma_memtomem_dma1_channel1.Init.Request = DMA_REQUEST_MEM2MEM;
  hdma_memtomem_dma1_channel1.Init.Direction = DMA_MEMORY_TO_MEMORY;
  hdma_memtomem_dma1_channel1.Init.PeriphInc = DMA_PINC_ENABLE;
  hdma_memtomem_dma1_channel1.Init.MemInc = DMA_MINC_ENABLE;
  hdma_memtomem_dma1_channel1.Init.PeriphDataAlignment = DMA_PDATAALIGN_HALFWORD;
  hdma_memtomem_dma1_channel1.Init.MemDataAlignment = DMA_MDATAALIGN_HALFWORD;
  hdma_memtomem_dma1_channel1.Init.Mode = DMA_NORMAL;
  hdma_memtomem_dma1_channel1.Init.Priority = DMA_PRIORITY_HIGH;
  if (HAL_DMA_Init(&hdma_memtomem_dma1_channel1) != HAL_OK)
  {
    _Error_Handler(__FILE__, __LINE__);
  }

}

/** Configure pins as
        * Analog
        * Input
        * Output
        * EVENT_OUT
        * EXTI
*/
static void MX_GPIO_Init(void)
{

  GPIO_InitTypeDef GPIO_InitStruct;

  /* GPIO Ports Clock Enable */
  __HAL_RCC_GPIOE_CLK_ENABLE();
  __HAL_RCC_GPIOC_CLK_ENABLE();
  __HAL_RCC_GPIOA_CLK_ENABLE();
  __HAL_RCC_GPIOB_CLK_ENABLE();
  __HAL_RCC_GPIOD_CLK_ENABLE();

  /*Configure GPIO pin Output Level */
  HAL_GPIO_WritePin(GPIOA, GPIO_PIN_8|GPIO_PIN_9|GPIO_PIN_10, GPIO_PIN_RESET);

  /*Configure GPIO pin Output Level */
  HAL_GPIO_WritePin(GPIOB, GPIO_PIN_5|GPIO_PIN_9, GPIO_PIN_RESET);

  /*Configure GPIO pins : PA0 PA1 */
  GPIO_InitStruct.Pin = GPIO_PIN_0|GPIO_PIN_1;
  GPIO_InitStruct.Mode = GPIO_MODE_INPUT;
  GPIO_InitStruct.Pull = GPIO_NOPULL;
  HAL_GPIO_Init(GPIOA, &GPIO_InitStruct);

  /*Configure GPIO pin : PC9 */
  GPIO_InitStruct.Pin = GPIO_PIN_9;
  GPIO_InitStruct.Mode = GPIO_MODE_IT_RISING;
  GPIO_InitStruct.Pull = GPIO_NOPULL;
  HAL_GPIO_Init(GPIOC, &GPIO_InitStruct);

  /*Configure GPIO pins : PA8 PA9 PA10 */
  GPIO_InitStruct.Pin = GPIO_PIN_8|GPIO_PIN_9|GPIO_PIN_10;
  GPIO_InitStruct.Mode = GPIO_MODE_OUTPUT_PP;
  GPIO_InitStruct.Pull = GPIO_NOPULL;
  GPIO_InitStruct.Speed = GPIO_SPEED_FREQ_LOW;
  HAL_GPIO_Init(GPIOA, &GPIO_InitStruct);

  /*Configure GPIO pins : PB5 PB9 */
  GPIO_InitStruct.Pin = GPIO_PIN_5|GPIO_PIN_9;
  GPIO_InitStruct.Mode = GPIO_MODE_OUTPUT_PP;
  GPIO_InitStruct.Pull = GPIO_NOPULL;
  GPIO_InitStruct.Speed = GPIO_SPEED_FREQ_LOW;
  HAL_GPIO_Init(GPIOB, &GPIO_InitStruct);

  /*Configure GPIO pin : TC_INT_Pin */
  GPIO_InitStruct.Pin = TC_INT_Pin;
  GPIO_InitStruct.Mode = GPIO_MODE_IT_RISING;
  GPIO_InitStruct.Pull = GPIO_NOPULL;
  HAL_GPIO_Init(TC_INT_GPIO_Port, &GPIO_InitStruct);

}

/* USER CODE BEGIN 4 */

/* LVGL Tasks */

void user_pwm_setvalue(uint16_t value)
 {
     TIM_OC_InitTypeDef sConfigOC;

     sConfigOC.OCMode = TIM_OCMODE_PWM1;
     sConfigOC.Pulse = value;
     sConfigOC.OCPolarity = TIM_OCPOLARITY_HIGH;
     sConfigOC.OCFastMode = TIM_OCFAST_DISABLE;
     HAL_TIM_PWM_ConfigChannel(&htim2, &sConfigOC, TIM_CHANNEL_1);
     HAL_TIM_PWM_Start(&htim2, TIM_CHANNEL_1);
 }

/* USER CODE END 4 */

void HAL_TIM_PeriodElapsedCallback(TIM_HandleTypeDef *htim)
{
  if (htim->Instance == TIM1) {
    HAL_IncTick();
  }
}

void _Error_Handler(char *file, int line)
{
  while(1)
  {
  }
}

/************************ (C) COPYRIGHT STMicroelectronics *****END OF FILE****/
